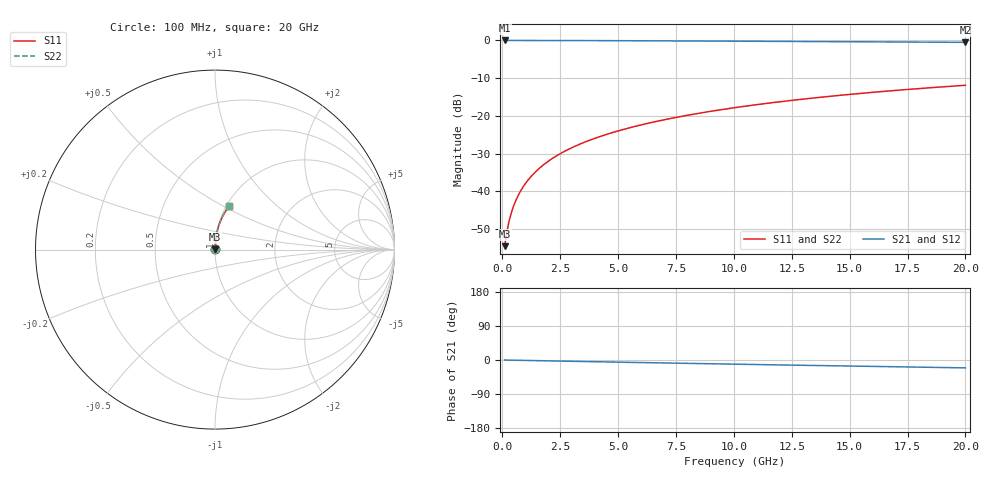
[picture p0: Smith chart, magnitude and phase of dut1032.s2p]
! Touchstone file exported from HFSS 2024.1.0
!  File:  C:/UserFiles/LocalFiles/RDL_TSV_Batchsim/temp_RDL_bottom_1032_1780051206.aedt
!  Generated:  06:42:47 PM May 29, 2026
!  Design:  RDL_bottom
!  Project:  temp_RDL_bottom_1032_1780051206
!  Setup:  Setup1
!  Solution:  Sweep
! Variables:
!  dtsv = 10.80580581um
!  hbump = 3um
!  htsv = 61.13um
!  ldown = 244.18um
!  lrdl = 100um
!  p = 40
!  p1 = 50.25um
!  rhole = 1um
!  t = 450um
!  tdown = 4.78um
!  trdl = 3.915915916um
!  wdown = 14.6um
!  wrdl = 20um
# GHz S MA R 50.000000
! Terminal data exported
! Port[1] = RDL1_T1
! Port[2] = RDL1_T2
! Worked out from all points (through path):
!   200 points, 100 MHz to 20 GHz, reference 50 ohm
!   highest |S21| = -0.01 dB at 100 MHz (marker M1); lowest = -0.5 dB at 20 GHz (marker M2)
!   group delay of S21, straight-line fit = 2.87 ps
!   lowest |S11| = -54.5 dB at 100 MHz (marker M3), VSWR 1.00, Z = 50.1 + j0.132 ohm
!   |S11| at or under -10 dB: start of sweep to end of sweep
!   |S22| runs from -54.5 to -11.9 dB; largest |S21 - S12| = 6.3e-15
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0.1  0.001889 44.0  0.9986 -0.1  0.9986 -0.1  0.001889 44.0
! Gamma 0 0 0 0
! Port Impedance 50 0 50 0
0.2  0.002956 61.8  0.9986 -0.2  0.9986 -0.2  0.002956 61.8
0.3  0.004133 69.6  0.9985 -0.4  0.9985 -0.4  0.004133 69.6
0.4  0.00534 73.9  0.9985 -0.5  0.9985 -0.5  0.00534 73.9
0.5  0.006562 76.7  0.9984 -0.6  0.9984 -0.6  0.006562 76.7
0.6  0.007793 78.6  0.9984 -0.7  0.9984 -0.7  0.007793 78.6
0.8  0.01027 81.0  0.9983 -0.9  0.9983 -0.9  0.01027 81.0
1.1  0.01402 83.0  0.9981 -1.3  0.9981 -1.3  0.01402 83.0
1.5  0.01903 84.3  0.9977 -1.7  0.9977 -1.7  0.01903 84.3
1.8  0.0228 84.9  0.9974 -2.1  0.9974 -2.1  0.0228 84.9
2.1  0.02658 85.2  0.997 -2.4  0.997 -2.4  0.02658 85.2
2.7  0.03415 85.5  0.9962 -3.1  0.9962 -3.1  0.03415 85.5
3.5  0.04427 85.5  0.9948 -4.0  0.9948 -4.0  0.04427 85.5
4.2  0.05317 85.4  0.9934 -4.8  0.9934 -4.8  0.05317 85.4
5  0.06338 85.0  0.9915 -5.7  0.9915 -5.7  0.06338 85.0
5.9  0.07493 84.6  0.9893 -6.7  0.9893 -6.7  0.07493 84.6
6.8  0.08656 84.0  0.9869 -7.6  0.9869 -7.6  0.08656 84.0
8.3  0.1061 82.9  0.9826 -9.2  0.9826 -9.2  0.1061 82.9
10.1  0.1295 81.4  0.9772 -11.1  0.9772 -11.1  0.1295 81.4
13.4  0.1724 78.4  0.9665 -14.4  0.9665 -14.4  0.1724 78.3
16.7  0.2143 75.1  0.955 -17.6  0.955 -17.6  0.2143 75.1
20  0.2547 71.9  0.9426 -20.8  0.9426 -20.8  0.2547 71.9
